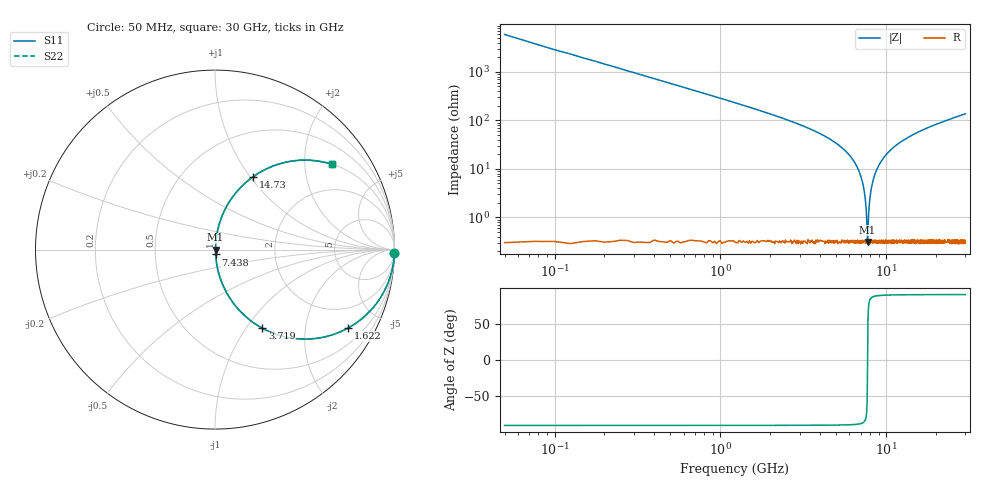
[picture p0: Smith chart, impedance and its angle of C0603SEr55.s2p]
!	AVX Thin Film Operation 	Date: April 2014
!	Description: Accu-P® Series, Thin Film  SMD RF Capacitor
!	Part Number: 06031JR55PBSTR
# MHZ S MA R 50
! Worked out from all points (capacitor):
!   1201 points, 50 MHz to 30 GHz, reference 50 ohm
!   read as one part in series: C = 550 fF near 199.8 MHz
!   lowest |Z| = 308 mohm at 7.712 GHz (marker M1)
!   series resonance near 7.714 GHz, so ESL is about 770 pH
!   S11 on the Smith chart (normalised r, x): 50 MHz: open; 1.622 GHz: 1.01, -3.41; 3.719 GHz: 1.01, -1.20; 7.438 GHz: 1.01, -0.05; 14.73 GHz: 1.01, +1.04; 30 GHz: 1.01, +2.72
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50  1 -1.0  0.017 89.0  0.017 89.0  1 -1.0
299.583  0.995 -5.9  0.103 84.1  0.103 84.1  0.995 -5.9
549.167  0.982 -10.8  0.187 79.2  0.187 79.2  0.982 -10.8
998.417  0.943 -19.3  0.331 70.6  0.331 70.6  0.943 -19.3
1622.375  0.862 -30.4  0.506 59.5  0.506 59.5  0.862 -30.4
3718.875  0.512 -58.9  0.857 30.8  0.857 30.8  0.512 -58.9
5041.667  0.311 -71.3  0.947 18.1  0.947 18.1  0.311 -71.3
6688.917  0.106 -82.2  0.991 6.1  0.991 6.1  0.106 -82.2
7138.167  0.058 -83.6  0.995 3.3  0.995 3.3  0.058 -83.6
7437.667  0.027 -81.9  0.996 1.6  0.996 1.6  0.027 -81.9
7612.375  0.01 -71.8  0.997 0.6  0.997 0.6  0.01 -71.8
7712.208  0.003145 -2.8  0.997 0.0  0.997 0.0  0.003145 -2.8
7812.042  0.009973 71.1  0.997 -0.5  0.997 -0.5  0.009973 71.1
8061.625  0.033 82.7  0.996 -1.9  0.996 -1.9  0.033 82.7
8436  0.067 83.5  0.995 -3.8  0.995 -3.8  0.067 83.5
9059.958  0.12 81.6  0.99 -6.9  0.99 -6.9  0.12 81.6
10058.29  0.197 77.7  0.977 -11.4  0.977 -11.4  0.197 77.7
14725.5  0.46 62.3  0.885 -27.4  0.885 -27.4  0.46 62.3
15025  0.473 61.5  0.878 -28.2  0.878 -28.2  0.473 61.5
20016.67  0.637 50.2  0.768 -39.6  0.768 -39.6  0.637 50.2
25033.29  0.739 42.2  0.671 -47.7  0.671 -47.7  0.739 42.2
30000  0.805 36.2  0.591 -53.6  0.591 -53.6  0.805 36.2
